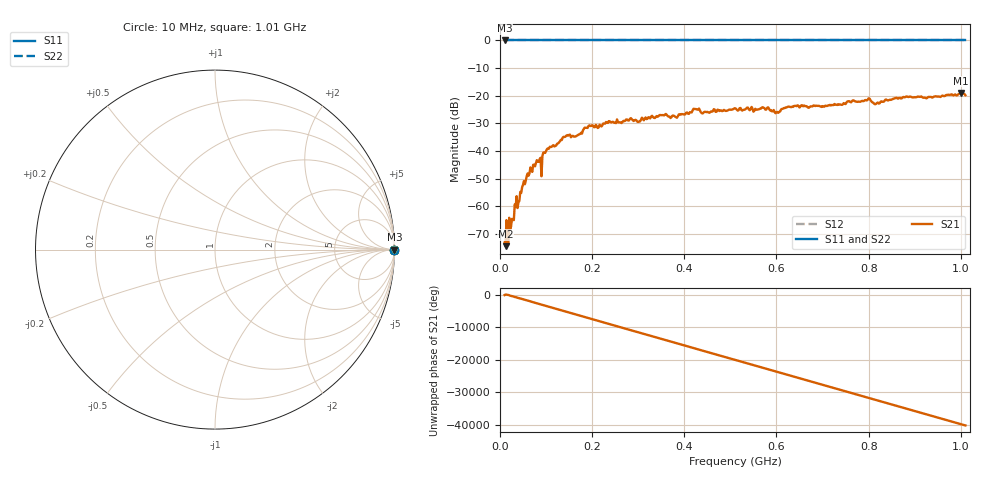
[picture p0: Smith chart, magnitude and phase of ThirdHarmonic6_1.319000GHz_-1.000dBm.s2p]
! 8/16/2025 2:39:24 PM
! C:\ANRITSUVNA\TEMP\TEMP.S2P
! CHANNEL.1
! TR.MEASUREMENT
! RAW.DATA
! RF.CORRECTION.OFF
! AVERAGING.OFF
! IF.BANDWIDTH: 5KHZ
! SWEEPTYPE:  FREQ.SWEEP(Linear)
! Reference Plane Port Info
! PORT:  PORT1  PORT2
! DISTANCE:  0  m  0  m
! TIME:  0  s  0  s
! PHASE.OFFSET:  0  deg.  0  deg.
! LOSS:  0  dB  0  dB
! REF.LOSS:  0  dB  0  dB
! REF.FREQ:  0  Hz  0  Hz
! Power Info
! POWER:  -20  dBm  -20  dBm
! EFF.POWER:  -20  dBm  -20  dBm
! SOURCE.ATTEN:  0  dB  0  dB
! TEST.ATTEN:  0  dB  0  dB
# GHZ S RI R 50.0
! FREQ.GHZ  S11RE  S11IM  S21RE  S21IM  S12RE  S12IM  S22RE  S22IM
!; PortSelection: Port_12
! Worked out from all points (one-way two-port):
!   501 points, 10 MHz to 1.01 GHz, reference 50 ohm
!   highest |S21| = -19.03 dB at 1 GHz (marker M1); lowest = -74.4 dB at 12 MHz (marker M2)
!   lowest |S11| = 0.0 dB at 10 MHz (marker M3)
!   |S11| at or under -10 dB: nowhere
!   |S22| runs from 0.0 to 0.0 dB; largest |S21 - S12| = 1.1
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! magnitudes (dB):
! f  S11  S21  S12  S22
! 10 MHz  0.0  -73.1  0.0  0.0
! 12 MHz  0.0  -74.4  0.0  0.0
! 20 MHz  0.0  -64.1  0.0  0.0
! 32 MHz  0.0  -59.3  0.0  0.0
! 42 MHz  0.0  -58.0  0.0  0.0
! 48 MHz  0.0  -53.1  0.0  0.0
! 70 MHz  0.0  -47.5  0.0  0.0
! 84 MHz  0.0  -43.9  0.0  0.0
! 88 MHz  0.0  -42.4  0.0  0.0
! 106 MHz  0.0  -39.1  0.0  0.0
! 142 MHz  0.0  -34.8  0.0  0.0
! 178 MHz  0.0  -33.7  0.0  0.0
! 234 MHz  0.0  -29.8  0.0  0.0
! 344 MHz  0.0  -27.4  0.0  0.0
! 424 MHz  0.0  -24.8  0.0  0.0
! 510 MHz  0.0  -24.5  0.0  0.0
! 602 MHz  0.0  -25.9  0.0  0.0
! 624 MHz  0.0  -24.0  0.0  0.0
! 678 MHz  0.0  -23.9  0.0  0.0
! 844 MHz  0.0  -21.6  0.0  0.0
! 1 GHz  0.0  -19.0  0.0  0.0
! 1.01 GHz  0.0  -19.8  0.0  0.0
